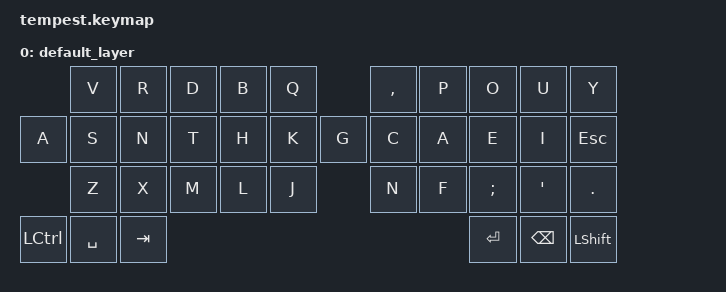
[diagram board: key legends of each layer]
#include <behaviors.dtsi>
#include <dt-bindings/zmk/keys.h>

/ {
    keymap {
        compatible = "zmk,keymap";

        default_layer { // Layer 0
            // -------------------------------------
            // |     Z     |     M     |     K     |
            // |     A     |     B     |     C     |
            // |     D     |     E     |     F     |
            bindings = <
                &kp V &kp R &kp D &kp B &kp Q    &kp COMMA &kp P &kp O &kp U &kp Y
          &kp A &kp S &kp N &kp T &kp H &kp K    &kp G &kp C &kp A &kp E &kp I &kp ESC
                &kp Z &kp X &kp M &kp L &kp J    &kp N &kp F &kp SEMI &kp APOS &kp DOT
        &kp LEFT_CONTROL &kp SPACE &kp TAB              &kp RET &kp BACKSPACE &kp LEFT_SHIFT
            >;
        };
    };
 };
